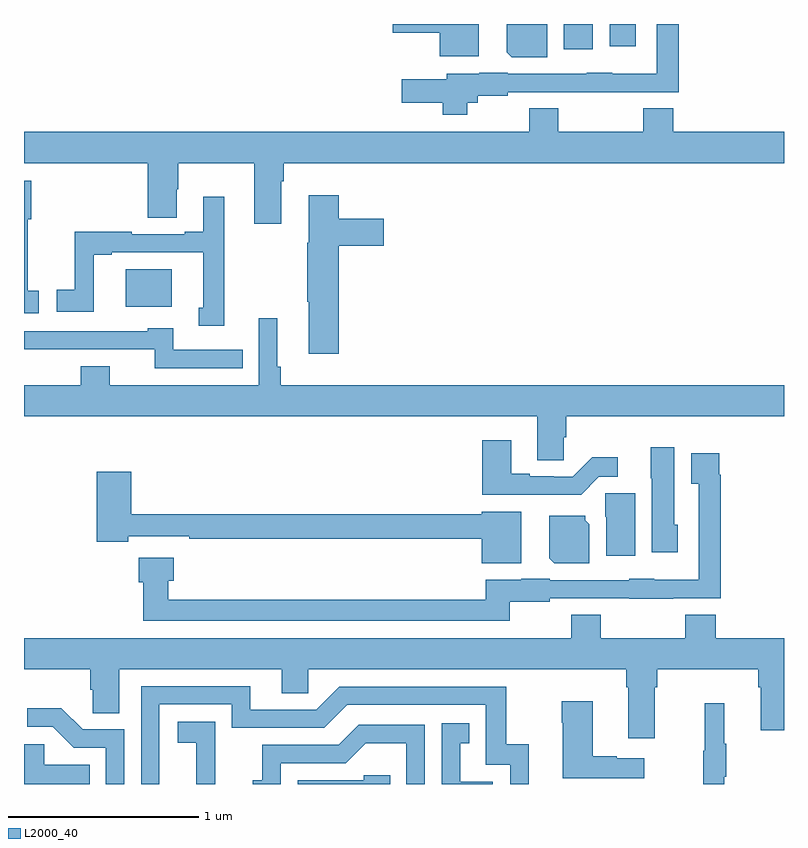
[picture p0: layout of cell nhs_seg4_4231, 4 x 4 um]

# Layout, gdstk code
import gdstk
lib = gdstk.Library(unit=1e-6, precision=1e-09)
def R(c, l, rs):  # rectangles x0, y0, x1, y1
    for r in rs: c.add(gdstk.rectangle(r[:2], r[2:], *l))
def P(c, l, *ps):  # polygons
    for p in ps: c.add(gdstk.Polygon(p, *l))
L2000_40 = (2000, 40)

nhs_seg4_4231 = lib.new_cell('nhs_seg4_4231')
R(nhs_seg4_4231, L2000_40, [(337.535,781.412,337.777,781.609), (339.842,782.766,339.994,782.9), (340.082,782.784,340.219,782.9)])
P(nhs_seg4_4231, L2000_40, [(339.334,782.486),(339.389,782.486),(339.389,782.522),(339.546,782.522),(339.546,782.541),(339.963,782.541),(339.963,782.54),(340.195,782.54),(340.195,782.541),(340.445,782.541),(340.445,782.9),(340.329,782.9),(340.329,782.638),(340.095,782.638),(340.095,782.644),(339.963,782.644),(339.963,782.637),(339.546,782.637),(339.546,782.644),(339.396,782.644),(339.396,782.638),(339.224,782.638),(339.224,782.608),(338.988,782.608),(338.988,782.486),(339.205,782.486),(339.205,782.423),(339.334,782.423)],
  [(339.754,782.9),(339.542,782.9),(339.542,782.752),(339.568,782.726),(339.754,782.726)],
  [(339.394,782.9),(338.94,782.9),(338.94,782.855),(339.188,782.855),(339.188,782.729),(339.394,782.729)],
  [(338.353,782.072),(338.366,782.072),(338.366,782.168),(341,782.168),(341,782.332),(340.418,782.332),(340.418,782.456),(340.258,782.456),(340.258,782.332),(339.813,782.332),(339.813,782.456),(339.658,782.456),(339.658,782.332),(337,782.332),(337,782.168),(337.652,782.168),(337.652,781.879),(337.804,781.879),(337.804,782.03),(337.812,782.03),(337.812,782.168),(338.213,782.168),(338.213,781.848),(338.353,781.848)],
  [(337.078,781.497),(337.02,781.497),(337.02,781.873),(337.037,781.873),(337.037,782.076),(337,782.076),(337,781.377),(337.078,781.377)],
  [(338.657,781.733),(338.893,781.733),(338.893,781.875),(338.657,781.875),(338.657,781.999),(338.498,781.999),(338.498,781.749),(338.491,781.749),(338.491,781.438),(338.498,781.438),(338.498,781.164),(338.657,781.164)],
  [(338.053,781.99),(337.943,781.99),(337.943,781.807),(337.847,781.807),(337.847,781.794),(337.568,781.794),(337.568,781.807),(337.267,781.807),(337.267,781.502),(337.173,781.502),(337.173,781.386),(337.366,781.386),(337.366,781.686),(337.462,781.686),(337.462,781.698),(337.943,781.698),(337.943,781.407),(337.919,781.407),(337.919,781.313),(338.053,781.313)],
  [(339.84,780.726),(339.854,780.726),(339.854,780.836),(341,780.836),(341,781),(338.351,781),(338.351,781.096),(338.332,781.096),(338.332,781.351),(338.235,781.351),(338.235,781),(337.45,781),(337.45,781.099),(337.298,781.099),(337.298,781),(337,781),(337,780.836),(339.701,780.836),(339.701,780.604),(339.84,780.604)],
  [(338.15,781.185),(337.786,781.185),(337.786,781.3),(337.65,781.3),(337.65,781.284),(337,781.284),(337,781.187),(337.214,781.187),(337.214,781.188),(337.687,781.188),(337.687,781.089),(338.15,781.089)],
  [(340.026,780.516),(340.126,780.516),(340.126,780.619),(339.991,780.619),(339.888,780.516),(339.788,780.516),(339.788,780.519),(339.661,780.519),(339.661,780.532),(339.565,780.532),(339.565,780.709),(339.413,780.709),(339.413,780.422),(339.932,780.422)],
  [(340.441,780.264),(340.423,780.264),(340.423,780.673),(340.298,780.673),(340.298,780.51),(340.304,780.51),(340.304,780.12),(340.441,780.12)],
  [(339.556,779.858),(339.768,779.858),(339.768,779.877),(340.185,779.877),(340.185,779.876),(340.417,779.876),(340.417,779.877),(340.667,779.877),(340.667,780.527),(340.66,780.527),(340.66,780.64),(340.511,780.64),(340.511,780.479),(340.551,780.479),(340.551,779.974),(340.317,779.974),(340.317,779.98),(340.185,779.98),(340.185,779.973),(339.768,779.973),(339.768,779.98),(339.618,779.98),(339.618,779.974),(339.431,779.974),(339.431,779.869),(337.759,779.869),(337.759,779.969),(337.787,779.969),(337.787,780.091),(337.604,780.091),(337.604,779.962),(337.627,779.962),(337.627,779.76),(339.556,779.76)],
  [(339.616,780.334),(339.41,780.334),(339.41,780.32),(337.565,780.32),(337.565,780.544),(337.382,780.544),(337.382,780.176),(337.548,780.176),(337.548,780.204),(337.87,780.204),(337.87,780.192),(339.41,780.192),(339.41,780.062),(339.616,780.062)],
  [(340.216,780.429),(340.06,780.429),(340.06,780.306),(340.064,780.306),(340.064,780.102),(340.216,780.102)],
  [(339.976,780.266),(339.954,780.288),(339.954,780.313),(339.764,780.313),(339.764,780.088),(339.79,780.062),(339.976,780.062)],
  [(340.321,779.408),(340.334,779.408),(340.334,779.504),(340.865,779.504),(340.865,779.408),(340.877,779.408),(340.877,779.184),(341,779.184),(341,779.668),(340.64,779.668),(340.64,779.792),(340.48,779.792),(340.48,779.668),(340.035,779.668),(340.035,779.792),(339.88,779.792),(339.88,779.668),(337,779.668),(337,779.504),(337.349,779.504),(337.349,779.395),(337.362,779.395),(337.362,779.272),(337.501,779.272),(337.501,779.504),(338.357,779.504),(338.357,779.377),(338.496,779.377),(338.496,779.504),(340.169,779.504),(340.169,779.408),(340.181,779.408),(340.181,779.142),(340.321,779.142)],
  [(337.713,779.319),(338.094,779.319),(338.094,779.196),(338.58,779.196),(338.7,779.316),(339.429,779.316),(339.429,779.001),(339.558,779.001),(339.558,778.9),(339.656,778.9),(339.656,779.11),(339.538,779.11),(339.538,779.412),(338.658,779.412),(338.538,779.292),(338.191,779.292),(338.191,779.415),(337.617,779.415),(337.617,778.9),(337.713,778.9)],
  [(340.264,779.035),(340.121,779.035),(340.121,779.045),(339.994,779.045),(339.994,779.335),(339.829,779.335),(339.829,779.222),(339.836,779.222),(339.836,778.931),(340.264,778.931)],
  [(340.685,778.939),(340.696,778.939),(340.696,779.113),(340.685,779.113),(340.685,779.326),(340.582,779.326),(340.582,779.076),(340.575,779.076),(340.575,778.9),(340.685,778.9)],
  [(337.527,779.187),(337.308,779.187),(337.195,779.3),(337.017,779.3),(337.017,779.202),(337.151,779.202),(337.262,779.091),(337.431,779.091),(337.431,778.9),(337.527,778.9)],
  [(338.006,779.021),(338.007,779.021),(338.007,779.227),(337.809,779.227),(337.809,779.117),(337.907,779.117),(337.907,778.9),(338.006,778.9)],
  [(339.468,778.911),(339.295,778.911),(339.295,779.115),(339.344,779.115),(339.344,779.221),(339.198,779.221),(339.198,778.9),(339.468,778.9)],
  [(338.352,779.01),(338.694,779.01),(338.798,779.114),(339.012,779.114),(339.012,778.9),(339.108,778.9),(339.108,779.211),(338.762,779.211),(338.657,779.106),(338.254,779.106),(338.254,778.921),(338.205,778.921),(338.205,778.9),(338.352,778.9)],
  [(337.346,779.002),(337.107,779.002),(337.107,779.11),(337,779.11),(337,778.9),(337.346,778.9)],
  [(338.927,778.947),(338.787,778.947),(338.787,778.92),(338.442,778.92),(338.442,778.9),(338.927,778.9)])

lib.write_gds('nhs_seg4_4231.gds')
